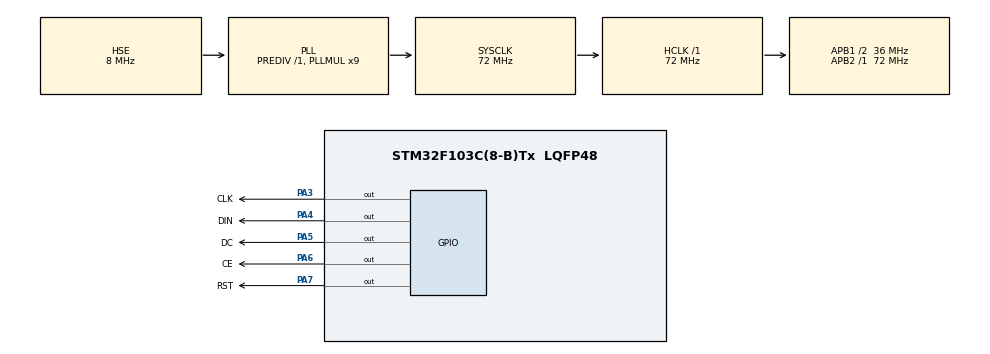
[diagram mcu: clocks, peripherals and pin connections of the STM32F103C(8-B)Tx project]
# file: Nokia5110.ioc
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Mcu.Family=STM32F1
Mcu.Name=STM32F103C(8-B)Tx
Mcu.Package=LQFP48
NVIC.PriorityGroup=NVIC_PRIORITYGROUP_4
PA13.Mode=Serial_Wire
PA13.Signal=SYS_JTMS-SWDIO
PA14.Mode=Serial_Wire
PA14.Signal=SYS_JTCK-SWCLK
PA3.GPIO_Label=CLK
PA3.GPIO_Speed=GPIO_SPEED_FREQ_HIGH
PA3.Signal=GPIO_Output
PA4.GPIO_Label=DIN
PA4.GPIO_Speed=GPIO_SPEED_FREQ_HIGH
PA4.Signal=GPIO_Output
PA5.GPIO_Label=DC
PA5.GPIO_Speed=GPIO_SPEED_FREQ_HIGH
PA5.Signal=GPIO_Output
PA6.GPIO_Label=CE
PA6.GPIO_Speed=GPIO_SPEED_FREQ_HIGH
PA6.Signal=GPIO_Output
PA7.GPIO_Label=RST
PA7.GPIO_Speed=GPIO_SPEED_FREQ_HIGH
PA7.Signal=GPIO_Output
PD0-OSC_IN.Mode=HSE-External-Oscillator
PD0-OSC_IN.Signal=RCC_OSC_IN
PD1-OSC_OUT.Mode=HSE-External-Oscillator
PD1-OSC_OUT.Signal=RCC_OSC_OUT
ProjectManager.HeapSize=0x200
ProjectManager.StackSize=0x400
ProjectManager.TargetToolchain=TrueSTUDIO
RCC.AHBFreq_Value=72000000
RCC.APB1CLKDivider=RCC_HCLK_DIV2
RCC.APB1Freq_Value=36000000
RCC.APB1TimFreq_Value=72000000
RCC.APB2Freq_Value=72000000
RCC.APB2TimFreq_Value=72000000
RCC.HCLKFreq_Value=72000000
RCC.PLLMUL=RCC_PLL_MUL9
RCC.PLLSourceVirtual=RCC_PLLSOURCE_HSE
RCC.SYSCLKFreq_VALUE=72000000
RCC.SYSCLKSource=RCC_SYSCLKSOURCE_PLLCLK
RCC.USBFreq_Value=72000000
board=custom

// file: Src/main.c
/* USER CODE BEGIN Header */
/**
  ******************************************************************************
  * @file           : main.c
  * @brief          : Main program body
  ******************************************************************************
  * @attention
  *
  * <h2><center>&copy; Copyright (c) 2019 STMicroelectronics.
  * All rights reserved.</center></h2>
  *
  * This software component is licensed by ST under BSD 3-Clause license,
  * the "License"; You may not use this file except in compliance with the
  * License. You may obtain a copy of the License at:
  *                        opensource.org/licenses/BSD-3-Clause
  *
  ******************************************************************************
  */
/* USER CODE END Header */

#include "main.h"

/* USER CODE BEGIN Includes */
#include "nokia5110_LCD.h"
#include "string.h"
/* USER CODE END Includes */

void SystemClock_Config(void);
static void MX_GPIO_Init(void);

int main(void)
{

  /* MCU Configuration--------------------------------------------------------*/

  /* Reset of all peripherals, Initializes the Flash interface and the Systick. */
  HAL_Init();

  /* Configure the system clock */
  SystemClock_Config();

  /* Initialize all configured peripherals */
  MX_GPIO_Init();
  /* USER CODE BEGIN 2 */

  // в Кубе настроить 5 пинов как Output, например PA3 - PA7 (можно переименовать их в соответствии с назначением)
  // и прописать в функции ниже - ПОРТ, ПИН. Подключать в соответствии с названиями контактов экрана.
  LCD_setRST(GPIOA, RST_Pin);
  LCD_setCE(GPIOA, CE_Pin);
  LCD_setDC(GPIOA, DC_Pin);
  LCD_setDIN(GPIOA, DIN_Pin);
  LCD_setCLK(GPIOA, CLK_Pin);

  LCD_init();

  uint16_t i = 0;

  /* USER CODE END 2 */

  /* Infinite loop */
  /* USER CODE BEGIN WHILE */
  while (1)
  {
	  // размер экрана 84x48 пикселей

	  LCD_clrScr(); // очистить экран

	  /////////////////////////////// вывод строк /////////////////////////////////
	  LCD_print("Hello", 0, 0);
	  HAL_Delay(200);
	  LCD_print("Hello", 6, 1);
	  HAL_Delay(200);
	  LCD_print("Hello", 12, 2);
	  HAL_Delay(200);
	  LCD_print("Hello", 18, 3);
	  HAL_Delay(200);
	  LCD_print("Hello", 24, 4);
	  HAL_Delay(200);
	  LCD_print("Hello", 30, 5);
	  HAL_Delay(200);

	  LCD_print("World", 0, 0);
	  HAL_Delay(200);
	  LCD_print("World", 6, 1);
	  HAL_Delay(200);
	  LCD_print("World", 12, 2);
	  HAL_Delay(200);
	  LCD_print("World", 18, 3);
	  HAL_Delay(200);
	  LCD_print("World", 24, 4);
	  HAL_Delay(200);
	  LCD_print("World", 30, 5);
	  HAL_Delay(500);

	  /////////////////////////////////////

	  char msg[6] = {0,};
	  snprintf(msg, 6, "%d", i++);
	  LCD_print(msg, 50, 0);

	  HAL_Delay(1000);
	  LCD_clrScr(); // очистить экран

	  /////////////////////////////////////

	  for(uint8_t i = 0; i < 6; i++)
	  {
		  LCD_print("istarik.ru stD", 0, i);
	  }

	  HAL_Delay(1000);
	  LCD_clrScr(); // очистить экран

	  ////////////////////////////////////

	  // далее показаны функции работающие через буфер - изображение копируется в буфер, а для вывода его на экран
	  // нужно воспользоваться одной из функций:
	  // LCD_refreshScr() - просто выводит на экран
	  // LCD_refreshArea(x, y, x, y) - выведет изображение в указанной области (остальная область останется не тронутой)

	  ///////////////////////////////////// линии ////////////////////////////////////////
	  LCD_drawHLine(20, 24, 44); // горизонтальная линия: слева, от верха, длина линии
	  LCD_refreshScr();

	  HAL_Delay(1000);

	  LCD_drawVLine(42, 4, 40); // вертикальная линия: слева, от верха, длина линии
	  LCD_refreshScr();

	  HAL_Delay(1000);

	  ///////////////////////////////////// произвольная линия ////////////////////////////////////////
	  LCD_drawLine(10, 10, 74, 38); // произвольная линия: начало - слева, от верха | конец - слева, от верха
	  LCD_refreshScr();

	  HAL_Delay(1000);

	  LCD_drawLine(10, 38, 74, 10); // произвольная линия: начало - слева, от верха | конец - слева, от верха
	  LCD_refreshScr();

	  HAL_Delay(1000);
	  LCD_clrScr(); // очистить экран

	  ////////////////////////////////// рисует один пиксель ///////////////////////////////////////
	  for(uint8_t i = 20; i < 64; i++)
	  {
		  LCD_setPixel(i, 24, true); // рисует один пиксель
		  LCD_refreshScr();
		  HAL_Delay(50);
	  }

	  HAL_Delay(500);

	  for(uint8_t i = 20; i < 64; i++)
	  {
		  LCD_setPixel(i, 24, false); // стирает один пиксель
		  LCD_refreshScr();
		  HAL_Delay(50);
	  }

	  HAL_Delay(500);

	  for(uint8_t i = 20; i < 64; i++)
	  {
		  LCD_setPixel(i, 24, true); // рисует один пиксель
		  LCD_setPixel(i, 25, true);
		  LCD_setPixel(i + 1, 24, true);
		  LCD_setPixel(i + 1, 25, true);
		  LCD_refreshScr();
		  HAL_Delay(100);

		  LCD_setPixel(i - 1, 24, false); // стирает один пиксель
		  LCD_setPixel(i - 1, 25, false);
		  LCD_setPixel(i - 2, 24, false);
		  LCD_setPixel(i - 2, 25, false);
		  LCD_refreshScr();
		  HAL_Delay(50);
	  }

	  HAL_Delay(100);

    /* USER CODE END WHILE */

  }
}

void SystemClock_Config(void)
{
  RCC_OscInitTypeDef RCC_OscInitStruct = {0};
  RCC_ClkInitTypeDef RCC_ClkInitStruct = {0};

  /** Initializes the CPU, AHB and APB busses clocks
  */
  RCC_OscInitStruct.OscillatorType = RCC_OSCILLATORTYPE_HSE;
  RCC_OscInitStruct.HSEState = RCC_HSE_ON;
  RCC_OscInitStruct.HSEPredivValue = RCC_HSE_PREDIV_DIV1;
  RCC_OscInitStruct.HSIState = RCC_HSI_ON;
  RCC_OscInitStruct.PLL.PLLState = RCC_PLL_ON;
  RCC_OscInitStruct.PLL.PLLSource = RCC_PLLSOURCE_HSE;
  RCC_OscInitStruct.PLL.PLLMUL = RCC_PLL_MUL9;
  if (HAL_RCC_OscConfig(&RCC_OscInitStruct) != HAL_OK)
  {
    Error_Handler();
  }
  /** Initializes the CPU, AHB and APB busses clocks
  */
  RCC_ClkInitStruct.ClockType = RCC_CLOCKTYPE_HCLK|RCC_CLOCKTYPE_SYSCLK
                              |RCC_CLOCKTYPE_PCLK1|RCC_CLOCKTYPE_PCLK2;
  RCC_ClkInitStruct.SYSCLKSource = RCC_SYSCLKSOURCE_PLLCLK;
  RCC_ClkInitStruct.AHBCLKDivider = RCC_SYSCLK_DIV1;
  RCC_ClkInitStruct.APB1CLKDivider = RCC_HCLK_DIV2;
  RCC_ClkInitStruct.APB2CLKDivider = RCC_HCLK_DIV1;

  if (HAL_RCC_ClockConfig(&RCC_ClkInitStruct, FLASH_LATENCY_2) != HAL_OK)
  {
    Error_Handler();
  }
}

static void MX_GPIO_Init(void)
{
  GPIO_InitTypeDef GPIO_InitStruct = {0};

  /* GPIO Ports Clock Enable */
  __HAL_RCC_GPIOD_CLK_ENABLE();
  __HAL_RCC_GPIOA_CLK_ENABLE();

  /*Configure GPIO pin Output Level */
  HAL_GPIO_WritePin(GPIOA, CLK_Pin|DIN_Pin|DC_Pin|CE_Pin
                          |RST_Pin, GPIO_PIN_RESET);

  /*Configure GPIO pins : CLK_Pin DIN_Pin DC_Pin CE_Pin
                           RST_Pin */
  GPIO_InitStruct.Pin = CLK_Pin|DIN_Pin|DC_Pin|CE_Pin
                          |RST_Pin;
  GPIO_InitStruct.Mode = GPIO_MODE_OUTPUT_PP;
  GPIO_InitStruct.Pull = GPIO_NOPULL;
  GPIO_InitStruct.Speed = GPIO_SPEED_FREQ_HIGH;
  HAL_GPIO_Init(GPIOA, &GPIO_InitStruct);

}

void Error_Handler(void)
{
}

/************************ (C) COPYRIGHT STMicroelectronics *****END OF FILE****/
